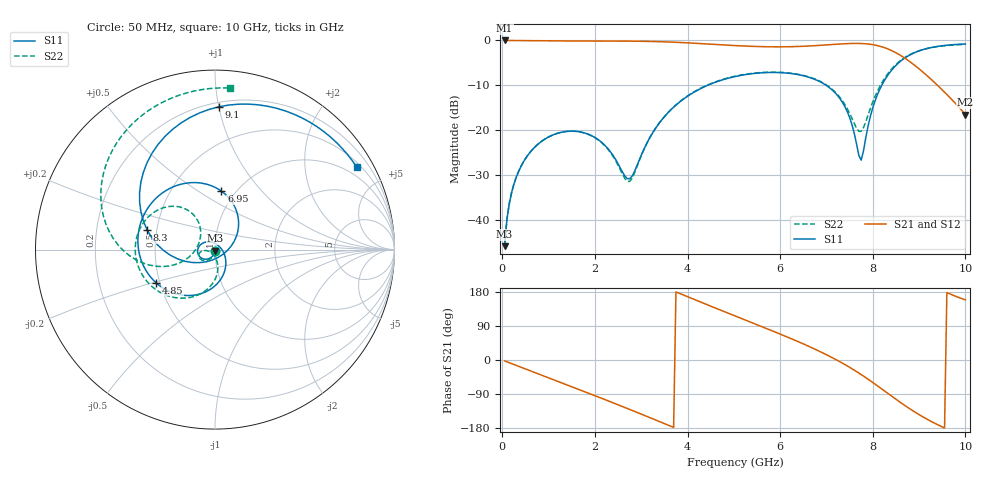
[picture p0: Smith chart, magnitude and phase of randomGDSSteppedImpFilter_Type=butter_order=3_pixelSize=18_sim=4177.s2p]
! freq	dB(S11)	phase(S11)	dB(S12)	phase(S12)
!  dB(S21)	phase(S21)	dB(S22)	phase(S22)
!S-par simulation data
#  GHz  S  DB  R 50
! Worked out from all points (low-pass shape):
!   200 points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, 50 MHz to 10 GHz, reference 50 ohm
!   highest |S21| = 0.00 dB at 50 MHz (marker M1); lowest = -16.5 dB at 10 GHz (marker M2)
!   |S21| within 3 dB of the highest: start of sweep to 8.547 GHz
!   lowest |S11| = -45.7 dB at 50 MHz (marker M3), VSWR 1.01, Z = 50 - j0.517 ohm
!   |S11| at or under -10 dB: start of sweep to 4.429 GHz; 6.997 GHz to 8.193 GHz (1.196 GHz wide, 15.7 % of centre)
!   |S22| runs from -45.6 to -0.9 dB; largest |S21 - S12| = 0
!   S11 on the Smith chart (normalised r, x): 50 MHz: 1.00, -0.01; 4.85 GHz: 0.48, -0.20; 6.95 GHz: 0.86, +0.63; 8.3 GHz: 0.44, +0.11; 9.1 GHz: 0.23, +1.00; 10 GHz: 0.65, +3.60
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0.05  -45.73 -88.9  -0.00 -2.4  -0.00 -2.4  -45.63 -90.4
0.2  -33.86 -100.1  -0.02 -9.5  -0.02 -9.5  -33.85 -98.3
0.55  -25.53 -119.0  -0.05 -26.0  -0.05 -26.0  -25.52 -114.1
1.1  -20.98 -148.2  -0.09 -51.8  -0.09 -51.8  -20.98 -137.3
1.75  -20.49 175.4  -0.13 -82.3  -0.13 -82.3  -20.52 -162.4
2.75  -30.74 42.7  -0.16 -130.3  -0.16 -130.3  -31.33 -123.4
3.4  -18.24 -62.4  -0.28 -162.7  -0.28 -162.7  -18.18 -83.4
4.05  -12.07 -105.0  -0.56 164.5  -0.56 164.5  -11.99 -106.5
4.85  -8.47 -150.8  -1.05 124.8  -1.05 124.8  -8.39 -139.7
5.05  -7.97 -161.9  -1.16 115.1  -1.16 115.1  -7.89 -148.0
5.9  -7.12 150.5  -1.42 73.5  -1.42 73.5  -7.05 177.0
6.7  -8.46 101.3  -1.19 31.5  -1.19 31.5  -8.38 143.6
6.95  -9.69 83.7  -1.03 17.0  -1.03 17.0  -9.58 133.3
7.4  -14.76 44.2  -0.73 -12.2  -0.73 -12.2  -14.29 120.8
7.75  -26.61 -67.3  -0.68 -38.5  -0.68 -38.5  -20.19 167.0
8  -14.97 -158.5  -0.94 -59.3  -0.94 -59.3  -13.68 -159.5
8.3  -8.11 163.9  -1.78 -85.9  -1.78 -85.9  -7.74 -169.6
8.35  -7.37 158.5  -1.99 -90.4  -1.99 -90.4  -7.05 -172.7
8.7  -3.85 123.1  -3.99 -120.7  -3.99 -120.7  -3.74 163.2
9.1  -1.99 88.5  -7.18 -151.3  -7.18 -151.3  -1.98 135.9
9.5  -1.18 59.8  -10.99 -176.6  -10.99 -176.6  -1.23 111.5
10  -0.78 30.2  -16.47 158.6  -16.47 158.6  -0.87 84.5
